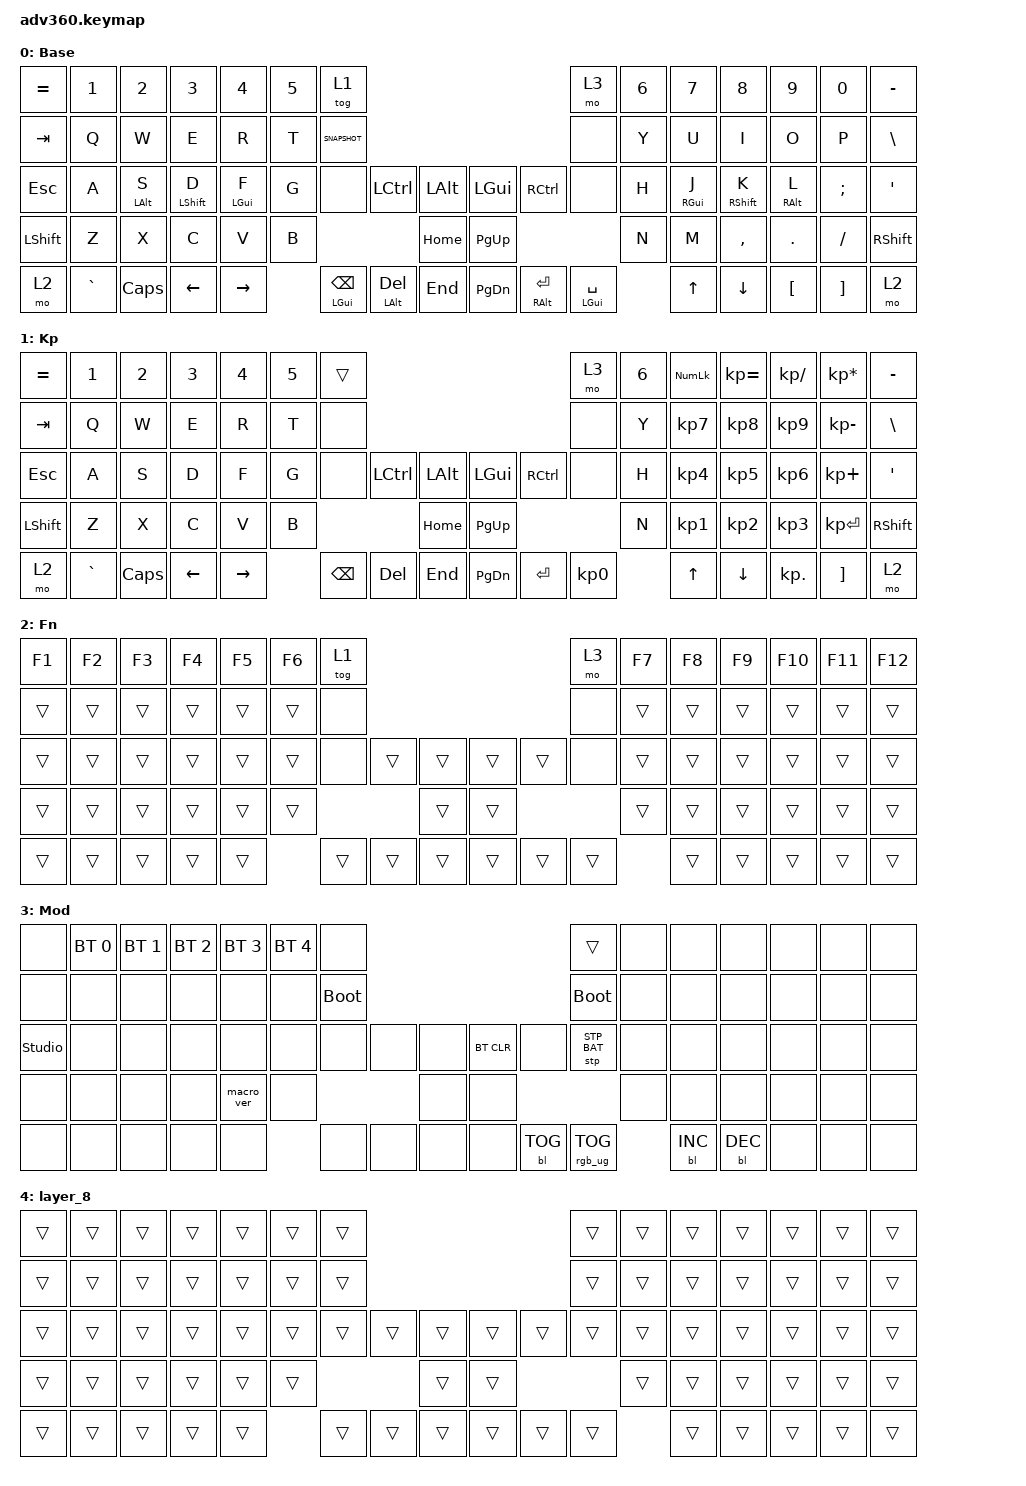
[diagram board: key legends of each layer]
#include <dt-bindings/zmk/stp.h>
#include <behaviors.dtsi>
#include <dt-bindings/zmk/backlight.h>
#include <dt-bindings/zmk/bt.h>
#include <dt-bindings/zmk/keys.h>
#include <dt-bindings/zmk/rgb.h>

/ {
    behaviors {
        #include "macros.dtsi"
      #include "version.dtsi"

        hm: homerow_mods {
            compatible = "zmk,behavior-hold-tap";
            label = "HOMEROW_MODS";
            #binding-cells = <2>;
            tapping-term-ms = <300>;
            quick_tap_ms = <175>;
            flavor = "tap-preferred";
            bindings = <&kp>, <&kp>;
        };

        personal_email_macro: personal_email_macro {
            compatible = "zmk,behavior-tap-dance";
            label = "PERSONAL_EMAIL_MACRO";
            #binding-cells = <0>;
            tapping-term-ms = <200>;
            bindings = <&kt AT_SIGN>, <&personal_email>;
        };
    };

    macros {
        personal_email: personal_email_macro {
            compatible = "zmk,behavior-macro";
            #binding-cells = <0>;
            bindings =
                <&macro_tap>,
                <&kp J &kp O &kp H &kp N &kp DOT &kp A &kp L &kp L &kp E &kp N &kp DOT &kp I &kp R &kp E &kp L &kp A &kp N &kp D &kp AT &kp G &kp M &kp A &kp I &kp L &kp DOT &kp C &kp O &kp M>;

            label = "PERSONAL_EMAIL_MACRO";
        };
    };

    keymap {
        compatible = "zmk,keymap";

        default_layer {
            display-name = "Base";
            bindings = <
&kp EQUAL  &kp N1     &kp NUMBER_2    &kp N3            &kp N4          &kp N5  &tog 1                                                                                     &mo 3               &kp N6  &kp N7           &kp N8             &kp N9           &kp N0    &kp MINUS
&kp TAB    &kp Q      &kp W           &kp E             &kp R           &kp T   &kp C_SNAPSHOT                                                                             &none               &kp Y   &kp U            &kp I              &kp O            &kp P     &kp BSLH
&kp ESC    &kp A      &hm LEFT_ALT S  &hm LEFT_SHIFT D  &hm LEFT_GUI F  &kp G   &none                   &kp LCTRL            &kp LALT      &kp LGUI   &kp RCTRL            &none               &kp H   &hm RIGHT_GUI J  &hm RIGHT_SHIFT K  &hm RIGHT_ALT L  &kp SEMI  &kp SQT
&kp LSHFT  &kp Z      &kp X           &kp C             &kp V           &kp B                                                &kp HOME      &kp PG_UP                                           &kp N   &kp M            &kp COMMA          &kp DOT          &kp FSLH  &kp RSHFT
&mo 2      &kp GRAVE  &kp CAPS        &kp LEFT          &kp RIGHT               &hm LEFT_GUI BACKSPACE  &hm LEFT_ALT DELETE  &kp END       &kp PG_DN  &hm RIGHT_ALT ENTER  &hm LEFT_GUI SPACE          &kp UP           &kp DOWN           &kp LBKT         &kp RBKT  &mo 2
            >;
        };

        keypad {
            display-name = "Kp";
            bindings = <
&kp EQUAL  &kp N1     &kp N2    &kp N3    &kp N4     &kp N5  &trans                                                   &mo 3      &kp N6  &kp KP_NUM  &kp KP_EQUAL  &kp KP_DIVIDE  &kp KP_MULTIPLY  &kp MINUS
&kp TAB    &kp Q      &kp W     &kp E     &kp R      &kp T   &none                                                    &none      &kp Y   &kp KP_N7   &kp KP_N8     &kp KP_N9      &kp KP_MINUS     &kp BSLH
&kp ESC    &kp A      &kp S     &kp D     &kp F      &kp G   &none     &kp LCTRL  &kp LALT      &kp LGUI   &kp RCTRL  &none      &kp H   &kp KP_N4   &kp KP_N5     &kp KP_N6      &kp KP_PLUS      &kp SQT
&kp LSHFT  &kp Z      &kp X     &kp C     &kp V      &kp B                        &kp HOME      &kp PG_UP                        &kp N   &kp KP_N1   &kp KP_N2     &kp KP_N3      &kp KP_ENTER     &kp RSHFT
&mo 2      &kp GRAVE  &kp CAPS  &kp LEFT  &kp RIGHT          &kp BSPC  &kp DEL    &kp END       &kp PG_DN  &kp ENTER  &kp KP_N0          &kp UP      &kp DOWN      &kp KP_DOT     &kp RBKT         &mo 2
            >;
        };

        fn {
            display-name = "Fn";
            bindings = <
&kp F1  &kp F2  &kp F3  &kp F4  &kp F5  &kp F6  &tog 1                                      &mo 3   &kp F7  &kp F8  &kp F9  &kp F10  &kp F11  &kp F12
&trans  &trans  &trans  &trans  &trans  &trans  &none                                       &none   &trans  &trans  &trans  &trans   &trans   &trans
&trans  &trans  &trans  &trans  &trans  &trans  &none   &trans  &trans      &trans  &trans  &none   &trans  &trans  &trans  &trans   &trans   &trans
&trans  &trans  &trans  &trans  &trans  &trans                  &trans      &trans                  &trans  &trans  &trans  &trans   &trans   &trans
&trans  &trans  &trans  &trans  &trans          &trans  &trans  &trans      &trans  &trans  &trans          &trans  &trans  &trans   &trans   &trans
            >;
        };

        mod {
            display-name = "Mod";
            bindings = <
&none           &bt BT_SEL 0  &bt BT_SEL 1  &bt BT_SEL 2  &bt BT_SEL 3  &bt BT_SEL 4  &none                                                  &trans           &none  &none       &none       &none  &none  &none
&none           &none         &none         &none         &none         &none         &bootloader                                            &bootloader      &none  &none       &none       &none  &none  &none
&studio_unlock  &none         &none         &none         &none         &none         &none        &none  &none      &bt BT_CLR  &none       &stp STP_BAT     &none  &none       &none       &none  &none  &none
&none           &none         &none         &none         &macro_ver    &none                             &none      &none                                    &none  &none       &none       &none  &none  &none
&none           &none         &none         &none         &none                       &none        &none  &none      &none       &bl BL_TOG  &rgb_ug RGB_TOG         &bl BL_INC  &bl BL_DEC  &none  &none  &none
            >;
        };

        extra1 {
            display-name = "Red";
            status = "reserved";
        };

        extra2 {
            display-name = "Purple";
            status = "reserved";
        };

        extra3 {
            display-name = "Cyan";
            status = "reserved";
        };

        extra4 {
            display-name = "Yellow";
            status = "reserved";
        };

        layer_8 {
            bindings = <
&trans  &trans  &trans  &trans  &trans  &trans  &trans                                      &trans  &trans  &trans  &trans  &trans  &trans  &trans
&trans  &trans  &trans  &trans  &trans  &trans  &trans                                      &trans  &trans  &trans  &trans  &trans  &trans  &trans
&trans  &trans  &trans  &trans  &trans  &trans  &trans  &trans  &trans      &trans  &trans  &trans  &trans  &trans  &trans  &trans  &trans  &trans
&trans  &trans  &trans  &trans  &trans  &trans                  &trans      &trans                  &trans  &trans  &trans  &trans  &trans  &trans
&trans  &trans  &trans  &trans  &trans          &trans  &trans  &trans      &trans  &trans  &trans          &trans  &trans  &trans  &trans  &trans
            >;
        };
    };
};
